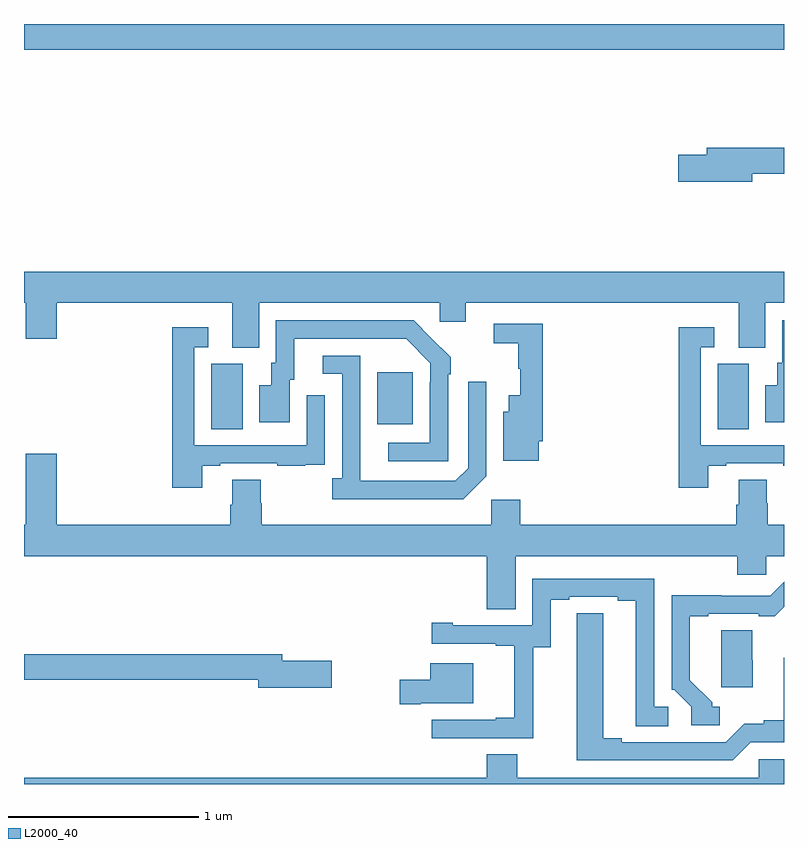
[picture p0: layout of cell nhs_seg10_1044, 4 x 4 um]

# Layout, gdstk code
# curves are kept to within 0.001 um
import gdstk
lib = gdstk.Library(unit=1e-6, precision=1e-09)
def R(c, l, rs):  # rectangles x0, y0, x1, y1
    for r in rs: c.add(gdstk.rectangle(r[:2], r[2:], *l))
def P(c, l, *ps):  # polygons
    for p in ps: c.add(gdstk.Polygon(p, *l))
L2000_40 = (2000, 40)

nhs_seg10_1044 = lib.new_cell('nhs_seg10_1044')
R(nhs_seg10_1044, L2000_40, [(165.986,1250.368,166.15,1250.712), (168.65,1250.368,168.814,1250.712), (166.859,1250.393,167.047,1250.668), (165,1252.364,169,1252.5)])
P(nhs_seg10_1044, L2000_40, [(168.832,1251.712),(169,1251.712),(169,1251.848),(168.593,1251.848),(168.593,1251.812),(168.444,1251.812),(168.444,1251.67),(168.832,1251.67)],
  [(166.237,1251.032),(167.187,1251.032),(167.187,1250.934),(167.326,1250.934),(167.326,1251.032),(168.761,1251.032),(168.761,1250.797),(168.901,1250.797),(168.901,1251.032),(169,1251.032),(169,1251.196),(165,1251.196),(165,1251.032),(165.008,1251.032),(165.008,1250.844),(165.172,1250.844),(165.172,1251.032),(166.097,1251.032),(166.097,1250.797),(166.237,1250.797)],
  [(169,1250.94),(168.99,1250.94),(168.99,1250.718),(168.965,1250.718),(168.965,1250.599),(168.902,1250.599),(168.902,1250.403),(169,1250.403)],
  [(167.232,1250.657),(167.247,1250.657),(167.247,1250.745),(167.05,1250.94),(166.326,1250.94),(166.326,1250.718),(166.301,1250.718),(166.301,1250.599),(166.238,1250.599),(166.238,1250.403),(166.399,1250.403),(166.399,1250.628),(166.423,1250.628),(166.423,1250.844),(167.011,1250.844),(167.139,1250.715),(167.139,1250.615),(167.136,1250.615),(167.136,1250.295),(166.917,1250.295),(166.917,1250.199),(167.232,1250.199)],
  [(167.71,1250.305),(167.729,1250.305),(167.729,1250.922),(167.472,1250.922),(167.472,1250.821),(167.601,1250.821),(167.601,1250.685),(167.612,1250.685),(167.612,1250.545),(167.552,1250.545),(167.552,1250.458),(167.522,1250.458),(167.522,1250.201),(167.71,1250.201)],
  [(168.601,1250.175),(168.697,1250.175),(168.697,1250.187),(168.997,1250.187),(168.997,1250.175),(169,1250.175),(169,1250.283),(168.561,1250.283),(168.561,1250.799),(168.634,1250.799),(168.634,1250.905),(168.445,1250.905),(168.445,1250.058),(168.601,1250.058)],
  [(165.937,1250.175),(166.033,1250.175),(166.033,1250.187),(166.333,1250.187),(166.333,1250.175),(166.481,1250.175),(166.481,1250.181),(166.583,1250.181),(166.583,1250.29),(166.584,1250.29),(166.584,1250.545),(166.488,1250.545),(166.488,1250.283),(165.897,1250.283),(165.897,1250.799),(165.97,1250.799),(165.97,1250.905),(165.781,1250.905),(165.781,1250.058),(165.937,1250.058)],
  [(167.433,1250.121),(167.433,1250.617),(167.337,1250.617),(167.337,1250.163),(167.271,1250.097),(166.771,1250.097),(166.77,1250.754),(166.572,1250.754),(166.572,1250.658),(166.674,1250.658),(166.674,1250.11),(166.623,1250.11),(166.623,1250),(167.312,1250)],
  [(167.587,1249.7),(168.755,1249.7),(168.755,1249.602),(168.906,1249.602),(168.906,1249.7),(169,1249.7),(169,1249.864),(168.914,1249.864),(168.914,1249.977),(168.909,1249.977),(168.909,1250.102),(168.761,1250.102),(168.761,1249.97),(168.749,1249.97),(168.749,1249.864),(167.612,1249.864),(167.612,1249.996),(167.46,1249.996),(167.46,1249.864),(166.25,1249.864),(166.25,1249.977),(166.245,1249.977),(166.245,1250.102),(166.097,1250.102),(166.097,1249.97),(166.085,1249.97),(166.085,1249.864),(165.172,1249.864),(165.172,1250.239),(165.008,1250.239),(165.008,1249.864),(165,1249.864),(165,1249.7),(167.435,1249.7),(167.435,1249.42),(167.587,1249.42)],
  [(167.679,1249.219),(167.773,1249.219),(167.773,1249.47),(167.869,1249.47),(167.869,1249.485),(168.125,1249.485),(168.125,1249.465),(168.221,1249.465),(168.221,1248.805),(168.391,1248.805),(168.391,1248.906),(168.318,1248.906),(168.318,1249.581),(167.676,1249.581),(167.676,1249.335),(167.257,1249.335),(167.257,1249.348),(167.145,1249.348),(167.145,1249.239),(167.483,1249.239),(167.483,1249.227),(167.579,1249.227),(167.579,1248.85),(167.483,1248.85),(167.483,1248.837),(167.145,1248.837),(167.145,1248.741),(167.679,1248.741)],
  [(168.661,1248.906),(168.622,1248.906),(168.622,1248.93),(168.505,1249.046),(168.505,1249.383),(168.601,1249.383),(168.601,1249.395),(168.866,1249.395),(168.866,1249.384),(168.952,1249.384),(169,1249.432),(169,1249.564),(168.927,1249.491),(168.671,1249.491),(168.671,1249.493),(168.408,1249.493),(168.408,1248.996),(168.423,1248.996),(168.513,1248.906),(168.513,1248.81),(168.661,1248.81)],
  [(168.825,1248.72),(169,1248.72),(169,1249.165),(168.998,1249.165),(168.998,1248.836),(168.894,1248.836),(168.894,1248.818),(168.791,1248.818),(168.693,1248.72),(168.145,1248.72),(168.145,1248.74),(168.049,1248.74),(168.049,1249.4),(167.91,1249.4),(167.909,1248.624),(168.729,1248.624)],
  [(168.835,1249.152),(168.834,1249.152),(168.834,1249.31),(168.671,1249.31),(168.671,1249.008),(168.835,1249.008)],
  [(166.621,1249.148),(166.36,1249.148),(166.36,1249.184),(165,1249.184),(165,1249.048),(166.232,1249.048),(166.232,1249.006),(166.621,1249.006)],
  [(167.089,1248.926),(167.365,1248.926),(167.365,1249.135),(167.138,1249.135),(167.138,1249.048),(166.977,1249.048),(166.977,1248.919),(167.089,1248.919)],
  [(169,1248.63),(168.867,1248.63),(168.867,1248.532),(167.595,1248.532),(167.595,1248.656),(167.435,1248.656),(167.435,1248.532),(165,1248.532),(165,1248.5),(169,1248.5)])

lib.write_gds('nhs_seg10_1044.gds')
